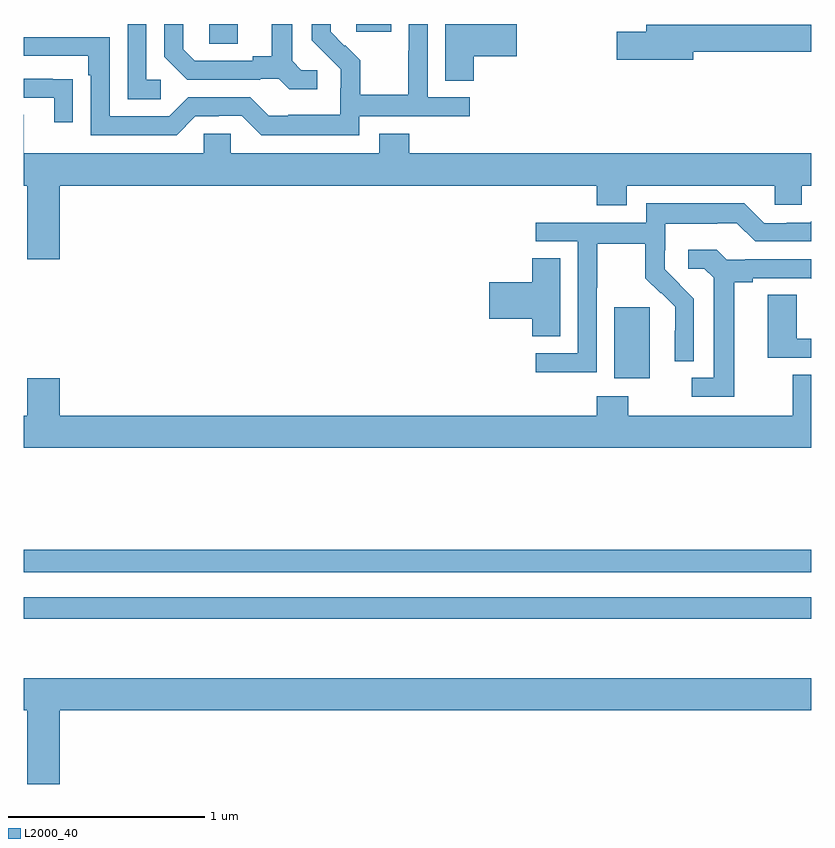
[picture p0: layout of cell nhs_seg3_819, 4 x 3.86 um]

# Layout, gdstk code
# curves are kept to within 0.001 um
import gdstk
lib = gdstk.Library(unit=1e-6, precision=1e-09)
def R(c, l, rs):  # rectangles x0, y0, x1, y1
    for r in rs: c.add(gdstk.rectangle(r[:2], r[2:], *l))
def P(c, l, *ps):  # polygons
    for p in ps: c.add(gdstk.Polygon(p, *l))
L2000_40 = (2000, 40)

nhs_seg3_819 = lib.new_cell('nhs_seg3_819')
R(nhs_seg3_819, L2000_40, [(153,701.382,157,701.49), (153,701.616,157,701.732), (155.999,702.602,156.178,702.963), (153.942,704.299,154.087,704.4), (154.688,704.361,154.867,704.4)])
P(nhs_seg3_819, L2000_40, [(153.697,704.118),(153.624,704.118),(153.624,704.4),(153.528,704.4),(153.528,704.017),(153.697,704.017)],
  [(154.492,704.166),(154.41,704.166),(154.363,704.213),(154.363,704.4),(154.259,704.4),(154.259,704.237),(154.163,704.237),(154.163,704.214),(153.868,704.214),(153.811,704.271),(153.811,704.4),(153.714,704.4),(153.714,704.234),(153.83,704.118),(154.202,704.118),(154.202,704.121),(154.296,704.121),(154.348,704.069),(154.492,704.069)],
  [(154.704,703.932),(155.266,703.932),(155.266,704.028),(155.052,704.028),(155.052,704.4),(154.956,704.4),(154.956,704.264),(154.954,704.264),(154.954,704.041),(154.709,704.041),(154.709,704.215),(154.632,704.292),(154.629,704.289),(154.559,704.36),(154.559,704.4),(154.464,704.4),(154.464,704.318),(154.61,704.17),(154.61,704.073),(154.608,704.073),(154.608,703.939),(154.345,703.939),(154.345,703.935),(154.245,703.935),(154.152,704.028),(153.837,704.028),(153.741,703.932),(153.438,703.932),(153.438,704.334),(153,704.334),(153,704.238),(153.329,704.238),(153.329,704.141),(153.342,704.141),(153.342,703.836),(153.777,703.836),(153.873,703.932),(153.992,703.932),(153.992,703.935),(154.107,703.935),(154.207,703.835),(154.704,703.835)],
  [(155.285,704.237),(155.503,704.237),(155.503,704.4),(155.141,704.4),(155.141,704.113),(155.285,704.113)],
  [(156.4,704.26),(157,704.26),(157,704.396),(156.161,704.396),(156.161,704.36),(156.012,704.36),(156.012,704.218),(156.4,704.218)],
  [(153.251,704.12),(153.149,704.12),(153.149,704.121),(153,704.121),(153,704.025),(153.155,704.025),(153.155,703.902),(153.251,703.902)],
  [(153.184,703.58),(155.909,703.58),(155.909,703.481),(156.061,703.481),(156.061,703.58),(156.813,703.58),(156.813,703.482),(156.951,703.482),(156.951,703.58),(157,703.58),(157,703.744),(154.958,703.744),(154.958,703.843),(154.805,703.843),(154.805,703.744),(154.053,703.744),(154.053,703.842),(153.915,703.842),(153.915,703.744),(153.001,703.744),(153.001,703.939),(153,703.939),(153,703.58),(153.02,703.58),(153.02,703.206),(153.184,703.206)],
  [(155.91,703.06),(155.913,703.06),(155.913,703.284),(156.157,703.284),(156.157,703.109),(156.234,703.032),(156.237,703.035),(156.308,702.965),(156.308,702.842),(156.306,702.842),(156.306,702.688),(156.402,702.688),(156.402,703.006),(156.256,703.154),(156.256,703.251),(156.258,703.251),(156.258,703.385),(156.521,703.385),(156.521,703.389),(156.621,703.389),(156.714,703.296),(157,703.296),(157,703.399),(156.993,703.392),(156.875,703.392),(156.875,703.389),(156.759,703.389),(156.659,703.489),(156.162,703.489),(156.162,703.392),(155.601,703.392),(155.601,703.296),(155.814,703.296),(155.814,702.729),(155.601,702.729),(155.601,702.631),(155.91,702.631)],
  [(156.607,703.088),(156.703,703.088),(156.703,703.11),(156.998,703.11),(157,703.108),(157,703.206),(156.664,703.206),(156.664,703.203),(156.57,703.203),(156.518,703.255),(156.375,703.255),(156.375,703.158),(156.456,703.158),(156.503,703.111),(156.503,702.603),(156.393,702.603),(156.393,702.507),(156.607,702.507)],
  [(155.725,703.211),(155.582,703.211),(155.582,703.088),(155.364,703.088),(155.364,702.905),(155.582,702.905),(155.582,702.814),(155.725,702.814)],
  [(157,702.801),(156.924,702.801),(156.924,703.025),(156.779,703.025),(156.779,702.705),(157,702.705)],
  [(157,702.62),(156.905,702.62),(156.905,702.412),(156.069,702.412),(156.069,702.511),(155.909,702.511),(155.909,702.412),(153.184,702.412),(153.184,702.601),(153.02,702.601),(153.02,702.412),(153,702.412),(153,702.248),(157,702.248)],
  [(153.184,700.916),(157,700.916),(157,701.08),(153,701.08),(153,700.916),(153.02,700.916),(153.02,700.542),(153.184,700.542)])

lib.write_gds('nhs_seg3_819.gds')
